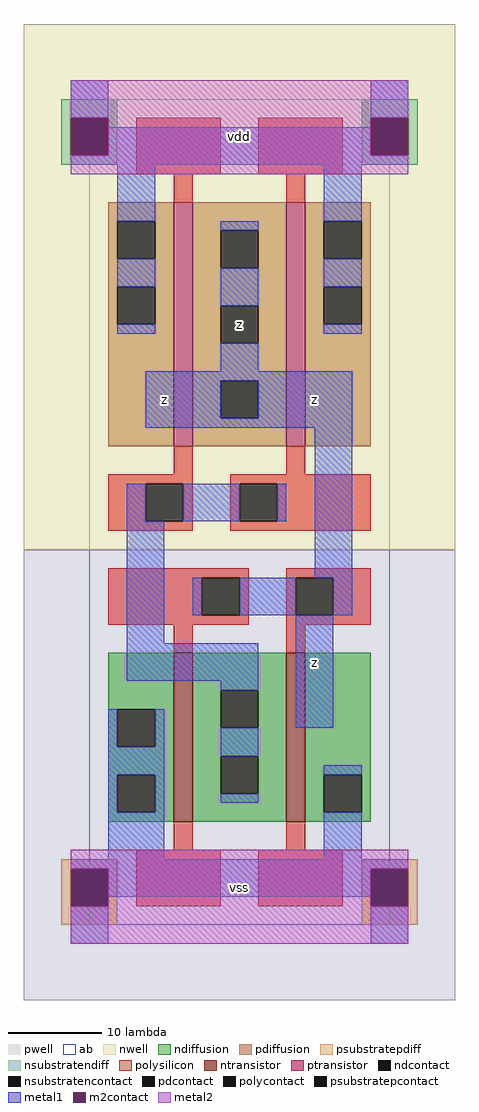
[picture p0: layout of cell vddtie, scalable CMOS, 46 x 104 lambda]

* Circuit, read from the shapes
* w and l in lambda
.subckt vddtie vdd vss z
M1 n1 z vss vss nfet w=18 l=2 m=2
M2 z n1 vdd vdd pfet w=26 l=2 m=2
.ends

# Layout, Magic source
magic
tech scmos
<< ab >>
rect 0 0 32 88
<< pwell >>
rect -7 -8 39 40
<< nwell >>
rect -7 40 39 96
<< polysilicon >>
rect 5 80 14 86
rect 18 80 27 86
rect 9 77 11 80
rect 21 77 23 80
rect 9 48 11 51
rect 21 48 23 51
rect 2 47 11 48
rect 2 43 6 47
rect 10 43 11 47
rect 2 42 11 43
rect 15 47 30 48
rect 15 43 16 47
rect 20 43 30 47
rect 15 42 30 43
rect 2 37 17 38
rect 2 33 12 37
rect 16 33 17 37
rect 2 32 17 33
rect 21 37 30 38
rect 21 33 22 37
rect 26 33 30 37
rect 21 32 30 33
rect 9 29 11 32
rect 21 29 23 32
rect 9 8 11 11
rect 21 8 23 11
rect 5 2 14 8
rect 18 2 27 8
<< ndiffusion >>
rect 2 23 9 29
rect 2 19 3 23
rect 7 19 9 23
rect 2 16 9 19
rect 2 12 3 16
rect 7 12 9 16
rect 2 11 9 12
rect 11 25 21 29
rect 11 21 14 25
rect 18 21 21 25
rect 11 18 21 21
rect 11 14 14 18
rect 18 14 21 18
rect 11 11 21 14
rect 23 16 30 29
rect 23 12 25 16
rect 29 12 30 16
rect 23 11 30 12
<< pdiffusion >>
rect 2 75 9 77
rect 2 71 3 75
rect 7 71 9 75
rect 2 68 9 71
rect 2 64 3 68
rect 7 64 9 68
rect 2 51 9 64
rect 11 74 21 77
rect 11 70 14 74
rect 18 70 21 74
rect 11 66 21 70
rect 11 62 14 66
rect 18 62 21 66
rect 11 58 21 62
rect 11 54 14 58
rect 18 54 21 58
rect 11 51 21 54
rect 23 75 30 77
rect 23 71 25 75
rect 29 71 30 75
rect 23 68 30 71
rect 23 64 25 68
rect 29 64 30 68
rect 23 51 30 64
<< metal1 >>
rect -2 86 2 90
rect 30 86 34 90
rect 2 82 30 85
rect -2 81 34 82
rect 3 75 7 81
rect 25 75 29 81
rect 3 68 7 71
rect 3 63 7 64
rect 14 74 18 75
rect 14 66 18 70
rect 25 68 29 71
rect 25 63 29 64
rect 14 59 18 62
rect 6 58 28 59
rect 6 54 14 58
rect 18 54 28 58
rect 6 53 28 54
rect 4 43 6 47
rect 10 43 16 47
rect 20 43 21 47
rect 4 30 8 43
rect 24 37 28 53
rect 11 33 12 37
rect 16 33 22 37
rect 26 33 28 37
rect 4 26 18 30
rect 14 25 18 26
rect 2 19 3 23
rect 7 19 8 23
rect 2 16 8 19
rect 2 12 3 16
rect 7 12 8 16
rect 22 21 26 33
rect 14 18 18 21
rect 14 13 18 14
rect 25 16 29 17
rect 2 7 8 12
rect 25 7 29 12
rect -2 6 34 7
rect 2 3 30 6
rect -2 -2 2 2
rect 30 -2 34 2
<< metal2 >>
rect -2 86 34 90
rect 2 82 30 86
rect -2 80 34 82
rect -2 6 34 8
rect 2 2 30 6
rect -2 -2 34 2
<< ntransistor >>
rect 9 11 11 29
rect 21 11 23 29
<< ptransistor >>
rect 9 51 11 77
rect 21 51 23 77
<< polycontact >>
rect 6 43 10 47
rect 16 43 20 47
rect 12 33 16 37
rect 22 33 26 37
<< ndcontact >>
rect 3 19 7 23
rect 3 12 7 16
rect 14 21 18 25
rect 14 14 18 18
rect 25 12 29 16
<< pdcontact >>
rect 3 71 7 75
rect 3 64 7 68
rect 14 70 18 74
rect 14 62 18 66
rect 14 54 18 58
rect 25 71 29 75
rect 25 64 29 68
<< m2contact >>
rect -2 82 2 86
rect 30 82 34 86
rect -2 2 2 6
rect 30 2 34 6
<< psubstratepcontact >>
rect -2 2 2 6
rect 30 2 34 6
<< nsubstratencontact >>
rect -2 82 2 86
rect 30 82 34 86
<< psubstratepdiff >>
rect -3 6 3 7
rect -3 2 -2 6
rect 2 2 3 6
rect 29 6 35 7
rect 29 2 30 6
rect 34 2 35 6
rect -3 0 3 2
rect 29 0 35 2
<< nsubstratendiff >>
rect -3 86 3 88
rect 29 86 35 88
rect -3 82 -2 86
rect 2 82 3 86
rect -3 81 3 82
rect 29 82 30 86
rect 34 82 35 86
rect 29 81 35 82
<< labels >>
rlabel metal1 8 56 8 56 6 z
rlabel pdcontact 16 64 16 64 6 z
rlabel metal1 24 28 24 28 6 z
rlabel metal1 24 56 24 56 6 z
rlabel metal2 16 4 16 4 6 vss
rlabel metal2 16 84 16 84 6 vdd
<< end >>
